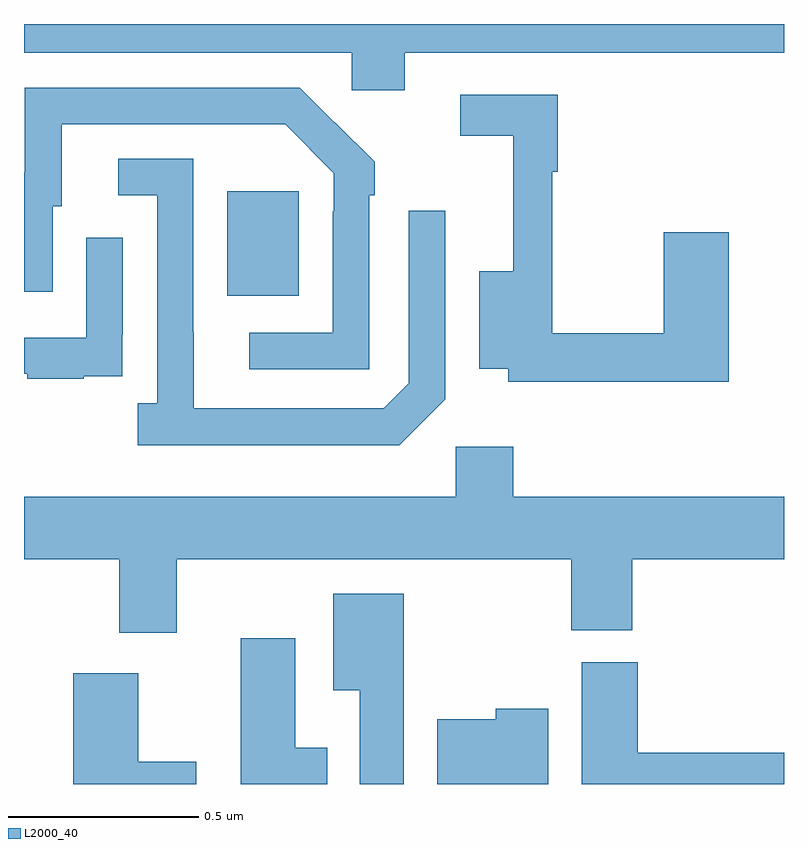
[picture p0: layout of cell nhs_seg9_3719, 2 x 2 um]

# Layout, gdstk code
import gdstk
lib = gdstk.Library(unit=1e-6, precision=1e-09)
def R(c, l, rs):  # rectangles x0, y0, x1, y1
    for r in rs: c.add(gdstk.rectangle(r[:2], r[2:], *l))
def P(c, l, *ps):  # polygons
    for p in ps: c.add(gdstk.Polygon(p, *l))
L2000_40 = (2000, 40)

nhs_seg9_3719 = lib.new_cell('nhs_seg9_3719')
R(nhs_seg9_3719, L2000_40, [(157.535,1191.785,157.723,1192.06)])
P(nhs_seg9_3719, L2000_40, [(158.002,1192.424),(159,1192.424),(159,1192.5),(157,1192.5),(157,1192.424),(157.863,1192.424),(157.863,1192.326),(158.002,1192.326)],
  [(157.908,1192.049),(157.923,1192.049),(157.923,1192.137),(157.818,1192.242),(157.817,1192.241),(157.726,1192.332),(157.002,1192.332),(157.002,1192.11),(157,1192.11),(157,1191.795),(157.075,1191.795),(157.075,1192.02),(157.099,1192.02),(157.099,1192.236),(157.687,1192.236),(157.815,1192.107),(157.815,1192.007),(157.812,1192.007),(157.812,1191.687),(157.593,1191.687),(157.593,1191.591),(157.908,1191.591)],
  [(158.855,1191.952),(158.684,1191.952),(158.684,1191.686),(158.39,1191.686),(158.39,1192.111),(158.405,1192.111),(158.405,1192.314),(158.148,1192.314),(158.148,1192.206),(158.288,1192.206),(158.288,1191.85),(158.198,1191.85),(158.198,1191.593),(158.274,1191.593),(158.274,1191.558),(158.855,1191.558)],
  [(158.109,1191.513),(158.109,1192.009),(158.013,1192.009),(158.013,1191.555),(157.947,1191.489),(157.447,1191.489),(157.447,1191.689),(157.446,1191.689),(157.446,1192.146),(157.248,1192.146),(157.248,1192.05),(157.35,1192.05),(157.35,1191.502),(157.299,1191.502),(157.299,1191.392),(157.988,1191.392)],
  [(157.157,1191.573),(157.259,1191.573),(157.259,1191.682),(157.26,1191.682),(157.26,1191.937),(157.164,1191.937),(157.164,1191.675),(157,1191.675),(157,1191.579),(157.009,1191.579),(157.009,1191.567),(157.157,1191.567)],
  [(157.402,1191.092),(158.44,1191.092),(158.44,1190.905),(158.6,1190.905),(158.6,1191.092),(159,1191.092),(159,1191.256),(158.288,1191.256),(158.288,1191.388),(158.136,1191.388),(158.136,1191.256),(157,1191.256),(157,1191.092),(157.25,1191.092),(157.25,1190.898),(157.402,1190.898)],
  [(157.999,1191.001),(157.814,1191.001),(157.814,1190.747),(157.883,1190.747),(157.883,1190.5),(157.999,1190.5)],
  [(157.798,1190.596),(157.714,1190.596),(157.714,1190.884),(157.571,1190.884),(157.571,1190.5),(157.798,1190.5)],
  [(159,1190.582),(158.615,1190.582),(158.615,1190.82),(158.468,1190.82),(158.468,1190.5),(159,1190.5)],
  [(157.453,1190.559),(157.3,1190.559),(157.3,1190.791),(157.13,1190.791),(157.13,1190.5),(157.453,1190.5)],
  [(158.38,1190.698),(158.241,1190.698),(158.241,1190.671),(158.087,1190.671),(158.087,1190.5),(158.38,1190.5)])

lib.write_gds('nhs_seg9_3719.gds')
